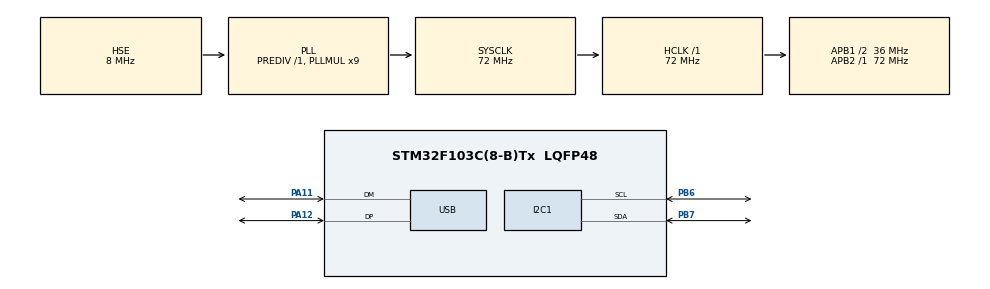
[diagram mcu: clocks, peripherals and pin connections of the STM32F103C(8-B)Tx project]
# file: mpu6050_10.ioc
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Mcu.Family=STM32F1
Mcu.Name=STM32F103C(8-B)Tx
Mcu.Package=LQFP48
NVIC.PriorityGroup=NVIC_PRIORITYGROUP_4
NVIC.USB_LP_CAN1_RX0_IRQn=true\:0\:0\:false\:false\:true\:false\:true\:true
PA11.Mode=Device
PA11.Signal=USB_DM
PA12.Mode=Device
PA12.Signal=USB_DP
PA13.Mode=Serial_Wire
PA13.Signal=SYS_JTMS-SWDIO
PA14.Mode=Serial_Wire
PA14.Signal=SYS_JTCK-SWCLK
PB6.Mode=I2C
PB6.Signal=I2C1_SCL
PB7.Mode=I2C
PB7.Signal=I2C1_SDA
PD0-OSC_IN.Mode=HSE-External-Oscillator
PD0-OSC_IN.Signal=RCC_OSC_IN
PD1-OSC_OUT.Mode=HSE-External-Oscillator
PD1-OSC_OUT.Signal=RCC_OSC_OUT
ProjectManager.HeapSize=0x200
ProjectManager.StackSize=0x400
ProjectManager.TargetToolchain=MDK-ARM V5.32
RCC.AHBFreq_Value=72000000
RCC.APB1CLKDivider=RCC_HCLK_DIV2
RCC.APB1Freq_Value=36000000
RCC.APB1TimFreq_Value=72000000
RCC.APB2Freq_Value=72000000
RCC.APB2TimFreq_Value=72000000
RCC.HCLKFreq_Value=72000000
RCC.PLLMUL=RCC_PLL_MUL9
RCC.SYSCLKFreq_VALUE=72000000
RCC.SYSCLKSource=RCC_SYSCLKSOURCE_PLLCLK
RCC.USBFreq_Value=48000000
RCC.USBPrescaler=RCC_USBCLKSOURCE_PLL_DIV1_5
USB_DEVICE.CLASS_NAME_FS=CDC
USB_DEVICE.VirtualMode=Cdc
USB_DEVICE.VirtualModeFS=Cdc_FS
VP_USB_DEVICE_VS_USB_DEVICE_CDC_FS.Mode=CDC_FS
board=custom

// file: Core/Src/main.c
/* USER CODE BEGIN Header */
/**
  ******************************************************************************
  * @file           : main.c
  * @brief          : Main program body
  ******************************************************************************
  * @attention
  *
  * Copyright (c) 2023 STMicroelectronics.
  * All rights reserved.
  *
  * This software is licensed under terms that can be found in the LICENSE file
  * in the root directory of this software component.
  * If no LICENSE file comes with this software, it is provided AS-IS.
  *
  ******************************************************************************
  */
/* USER CODE END Header */
#include "main.h"
//#include "usb_device.h"

/* USER CODE BEGIN Includes */
#include "sd_hal_mpu6050.h"
/* USER CODE END Includes */

I2C_HandleTypeDef hi2c1;

/* USER CODE BEGIN PV */
SD_MPU6050 mpu1;

/* USER CODE END PV */

void SystemClock_Config(void);
static void MX_GPIO_Init(void);
static void MX_I2C1_Init(void);

/* USER CODE BEGIN 0 */
		float temp;
		int16_t a_x =0;
		int16_t a_y =0;
		int16_t a_z =0;
		int16_t Gyroscope_X = 0;
		int16_t Gyroscope_Y = 0;
		int16_t Gyroscope_Z = 0;

/* USER CODE END 0 */

int main(void)
{
  /* USER CODE BEGIN 1 */
	SD_MPU6050_Result result;

  /* USER CODE END 1 */

  /* MCU Configuration--------------------------------------------------------*/

  /* Reset of all peripherals, Initializes the Flash interface and the Systick. */
  HAL_Init();

  /* Configure the system clock */
  SystemClock_Config();

  /* USER CODE BEGIN SysInit */

//HAL_Delay(3000);
  /* USER CODE END SysInit */

  /* Initialize all configured peripherals */
  MX_GPIO_Init();
  MX_I2C1_Init();
  MX_USB_DEVICE_Init();

  /* Infinite loop */
  while (1)
  {

    /* USER CODE BEGIN 3 */

		result = SD_MPU6050_Init(&hi2c1,&mpu1,SD_MPU6050_Device_0,SD_MPU6050_Accelerometer_16G,SD_MPU6050_Gyroscope_2000s);
	  HAL_Delay(50);
    /* USER CODE END WHILE */

    /* USER CODE BEGIN 3 */
	  SD_MPU6050_ReadAccelerometer(&hi2c1,&mpu1);
	  a_x = mpu1.Accelerometer_X;
	  a_y = mpu1.Accelerometer_Y;
	  a_z = mpu1.Accelerometer_Z;

		SD_MPU6050_ReadTemperature(&hi2c1,&mpu1);
		temp = mpu1.Temperature;

		SD_MPU6050_ReadGyroscope(&hi2c1,&mpu1);
		Gyroscope_X = mpu1.Gyroscope_X;
		Gyroscope_Y = mpu1.Gyroscope_Y;
		Gyroscope_Z = mpu1.Gyroscope_Z;
  }
  /* USER CODE END 3 */
}

void SystemClock_Config(void)
{
  RCC_OscInitTypeDef RCC_OscInitStruct = {0};
  RCC_ClkInitTypeDef RCC_ClkInitStruct = {0};
  RCC_PeriphCLKInitTypeDef PeriphClkInit = {0};

  /** Initializes the RCC Oscillators according to the specified parameters
  * in the RCC_OscInitTypeDef structure.
  */
  RCC_OscInitStruct.OscillatorType = RCC_OSCILLATORTYPE_HSE;
  RCC_OscInitStruct.HSEState = RCC_HSE_ON;
  RCC_OscInitStruct.HSEPredivValue = RCC_HSE_PREDIV_DIV1;
  RCC_OscInitStruct.HSIState = RCC_HSI_ON;
  RCC_OscInitStruct.PLL.PLLState = RCC_PLL_ON;
  RCC_OscInitStruct.PLL.PLLSource = RCC_PLLSOURCE_HSE;
  RCC_OscInitStruct.PLL.PLLMUL = RCC_PLL_MUL9;
  if (HAL_RCC_OscConfig(&RCC_OscInitStruct) != HAL_OK)
  {
    Error_Handler();
  }

  /** Initializes the CPU, AHB and APB buses clocks
  */
  RCC_ClkInitStruct.ClockType = RCC_CLOCKTYPE_HCLK|RCC_CLOCKTYPE_SYSCLK
                              |RCC_CLOCKTYPE_PCLK1|RCC_CLOCKTYPE_PCLK2;
  RCC_ClkInitStruct.SYSCLKSource = RCC_SYSCLKSOURCE_PLLCLK;
  RCC_ClkInitStruct.AHBCLKDivider = RCC_SYSCLK_DIV1;
  RCC_ClkInitStruct.APB1CLKDivider = RCC_HCLK_DIV2;
  RCC_ClkInitStruct.APB2CLKDivider = RCC_HCLK_DIV1;

  if (HAL_RCC_ClockConfig(&RCC_ClkInitStruct, FLASH_LATENCY_2) != HAL_OK)
  {
    Error_Handler();
  }
  PeriphClkInit.PeriphClockSelection = RCC_PERIPHCLK_USB;
  PeriphClkInit.UsbClockSelection = RCC_USBCLKSOURCE_PLL_DIV1_5;
  if (HAL_RCCEx_PeriphCLKConfig(&PeriphClkInit) != HAL_OK)
  {
    Error_Handler();
  }
}

static void MX_I2C1_Init(void)
{

  hi2c1.Instance = I2C1;
  hi2c1.Init.ClockSpeed = 100000;
  hi2c1.Init.DutyCycle = I2C_DUTYCYCLE_2;
  hi2c1.Init.OwnAddress1 = 0;
  hi2c1.Init.AddressingMode = I2C_ADDRESSINGMODE_7BIT;
  hi2c1.Init.DualAddressMode = I2C_DUALADDRESS_DISABLE;
  hi2c1.Init.OwnAddress2 = 0;
  hi2c1.Init.GeneralCallMode = I2C_GENERALCALL_DISABLE;
  hi2c1.Init.NoStretchMode = I2C_NOSTRETCH_DISABLE;
  if (HAL_I2C_Init(&hi2c1) != HAL_OK)
  {
    Error_Handler();
  }

}

static void MX_GPIO_Init(void)
{

  /* GPIO Ports Clock Enable */
  __HAL_RCC_GPIOD_CLK_ENABLE();
  __HAL_RCC_GPIOA_CLK_ENABLE();
  __HAL_RCC_GPIOB_CLK_ENABLE();

}

void Error_Handler(void)
{
  __disable_irq();
  while (1)
  {
  }
}
